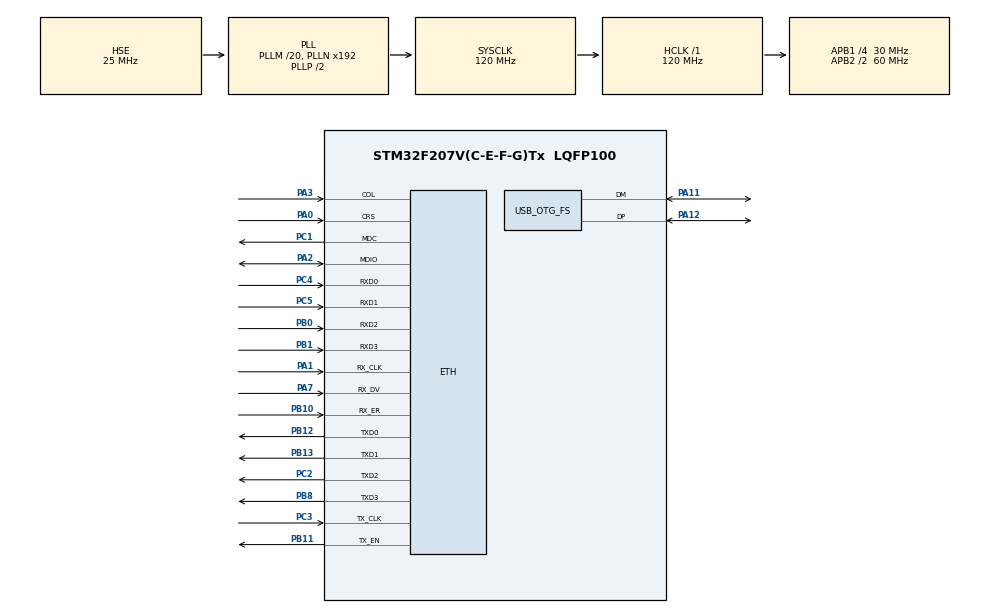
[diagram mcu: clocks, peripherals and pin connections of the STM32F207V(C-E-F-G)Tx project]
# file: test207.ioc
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ETH.MediaInterface=ETH_MEDIA_INTERFACE_MII
ETH.PhyAddress=0
FREERTOS.Tasks01=defaultTask,0,128,StartDefaultTask,Default,NULL,Dynamic,NULL,NULL;viTask,0,128,viFunct,Default,NULL,Dynamic,NULL,NULL
FREERTOS.configTOTAL_HEAP_SIZE=75360
LWIP.IP_ADDRESS=192.168.000.010
LWIP.LWIP_DHCP=0
LWIP.NETMASK_ADDRESS=255.255.255.000
LWIP.Version=v2.0.0_Cube
Mcu.Family=STM32F2
Mcu.Name=STM32F207V(C-E-F-G)Tx
Mcu.Package=LQFP100
NVIC.ETH_IRQn=true\:5\:0\:false\:false\:true\:true
NVIC.OTG_FS_IRQn=true\:0\:0\:false\:false\:true\:false
NVIC.PriorityGroup=NVIC_PRIORITYGROUP_4
NVIC.TIM7_IRQn=true\:0\:0\:false\:false\:true\:false
NVIC.TimeBase=TIM7_IRQn
NVIC.TimeBaseIP=TIM7
PA0-WKUP.Mode=MII
PA0-WKUP.Signal=ETH_CRS
PA1.Mode=MII
PA1.Signal=ETH_RX_CLK
PA11.Mode=Device_Only
PA11.Signal=USB_OTG_FS_DM
PA12.Mode=Device_Only
PA12.Signal=USB_OTG_FS_DP
PA13.Mode=JTAG_5_pins
PA13.Signal=SYS_JTMS-SWDIO
PA14.Mode=JTAG_5_pins
PA14.Signal=SYS_JTCK-SWCLK
PA15.Mode=JTAG_5_pins
PA15.Signal=SYS_JTDI
PA2.Mode=MII
PA2.Signal=ETH_MDIO
PA3.Mode=MII
PA3.Signal=ETH_COL
PA7.Mode=MII
PA7.Signal=ETH_RX_DV
PB0.Mode=MII
PB0.Signal=ETH_RXD2
PB1.Mode=MII
PB1.Signal=ETH_RXD3
PB10.Mode=Activate Rx Err signal
PB10.Signal=ETH_RX_ER
PB11.Mode=MII
PB11.Signal=ETH_TX_EN
PB12.Mode=MII
PB12.Signal=ETH_TXD0
PB13.Mode=MII
PB13.Signal=ETH_TXD1
PB3.Mode=JTAG_5_pins
PB3.Signal=SYS_JTDO-SWO
PB4.Mode=JTAG_5_pins
PB4.Signal=SYS_JTRST
PB8.Mode=MII
PB8.Signal=ETH_TXD3
PC1.Mode=MII
PC1.Signal=ETH_MDC
PC2.Mode=MII
PC2.Signal=ETH_TXD2
PC3.Mode=MII
PC3.Signal=ETH_TX_CLK
PC4.Mode=MII
PC4.Signal=ETH_RXD0
PC5.Mode=MII
PC5.Signal=ETH_RXD1
PH0-OSC_IN.Mode=HSE-External-Oscillator
PH0-OSC_IN.Signal=RCC_OSC_IN
PH1-OSC_OUT.Mode=HSE-External-Oscillator
PH1-OSC_OUT.Signal=RCC_OSC_OUT
ProjectManager.HeapSize=0x200
ProjectManager.StackSize=0x400
ProjectManager.TargetToolchain=EWARM
RCC.48MHZClocksFreq_Value=48000000
RCC.AHBFreq_Value=120000000
RCC.APB1CLKDivider=RCC_HCLK_DIV4
RCC.APB1Freq_Value=30000000
RCC.APB1TimFreq_Value=60000000
RCC.APB2CLKDivider=RCC_HCLK_DIV2
RCC.APB2Freq_Value=60000000
RCC.APB2TimFreq_Value=120000000
RCC.CortexFreq_Value=120000000
RCC.HCLKFreq_Value=120000000
RCC.HSE_VALUE=25000000
RCC.HSI_VALUE=16000000
RCC.LSE_VALUE=32768
RCC.PLLM=20
RCC.PLLQ=5
RCC.SYSCLKFreq_VALUE=120000000
RCC.SYSCLKSource=RCC_SYSCLKSOURCE_PLLCLK
RCC.VCOOutputFreq_Value=240000000
USB_DEVICE.CLASS_NAME_FS=CDC
USB_DEVICE.VirtualMode-CDC_FS=Cdc
USB_DEVICE.VirtualModeFS=Cdc_FS
USB_OTG_FS.VirtualMode=Device_Only
VP_FREERTOS_VS_ENABLE.Mode=Enabled
VP_LWIP_VS_Enabled.Mode=Enabled
VP_SYS_VS_tim7.Mode=TIM7
VP_USB_DEVICE_VS_USB_DEVICE_CDC_FS.Mode=CDC_FS
board=test207

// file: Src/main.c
/**
  ******************************************************************************
  * File Name          : main.c
  * Description        : Main program body
  ******************************************************************************
  * This notice applies to any and all portions of this file
  * that are not between comment pairs USER CODE BEGIN and
  * USER CODE END. Other portions of this file, whether
  * inserted by the user or by software development tools
  * are owned by their respective copyright owners.
  *
  * Copyright (c) 2017 STMicroelectronics International N.V.
  * All rights reserved.
  *
  * Redistribution and use in source and binary forms, with or without
  * modification, are permitted, provided that the following conditions are met:
  *
  * 1. Redistribution of source code must retain the above copyright notice,
  *    this list of conditions and the following disclaimer.
  * 2. Redistributions in binary form must reproduce the above copyright notice,
  *    this list of conditions and the following disclaimer in the documentation
  *    and/or other materials provided with the distribution.
  * 3. Neither the name of STMicroelectronics nor the names of other
  *    contributors to this software may be used to endorse or promote products
  *    derived from this software without specific written permission.
  * 4. This software, including modifications and/or derivative works of this
  *    software, must execute solely and exclusively on microcontroller or
  *    microprocessor devices manufactured by or for STMicroelectronics.
  * 5. Redistribution and use of this software other than as permitted under
  *    this license is void and will automatically terminate your rights under
  *    this license.
  *
  * THIS SOFTWARE IS PROVIDED BY STMICROELECTRONICS AND CONTRIBUTORS "AS IS"
  * AND ANY EXPRESS, IMPLIED OR STATUTORY WARRANTIES, INCLUDING, BUT NOT
  * LIMITED TO, THE IMPLIED WARRANTIES OF MERCHANTABILITY, FITNESS FOR A
  * PARTICULAR PURPOSE AND NON-INFRINGEMENT OF THIRD PARTY INTELLECTUAL PROPERTY
  * RIGHTS ARE DISCLAIMED TO THE FULLEST EXTENT PERMITTED BY LAW. IN NO EVENT
  * SHALL STMICROELECTRONICS OR CONTRIBUTORS BE LIABLE FOR ANY DIRECT, INDIRECT,
  * INCIDENTAL, SPECIAL, EXEMPLARY, OR CONSEQUENTIAL DAMAGES (INCLUDING, BUT NOT
  * LIMITED TO, PROCUREMENT OF SUBSTITUTE GOODS OR SERVICES; LOSS OF USE, DATA,
  * OR PROFITS; OR BUSINESS INTERRUPTION) HOWEVER CAUSED AND ON ANY THEORY OF
  * LIABILITY, WHETHER IN CONTRACT, STRICT LIABILITY, OR TORT (INCLUDING
  * NEGLIGENCE OR OTHERWISE) ARISING IN ANY WAY OUT OF THE USE OF THIS SOFTWARE,
  * EVEN IF ADVISED OF THE POSSIBILITY OF SUCH DAMAGE.
  *
  ******************************************************************************
  */
#include "main.h"
#include "stm32f2xx_hal.h"
#include "cmsis_os.h"
#include "lwip.h"
#include "usb_device.h"
#include "lwip/sys.h"
#include "lwip/sockets.h"
#include <stdio.h>

osThreadId defaultTaskHandle;
osThreadId viTaskHandle;

/* USER CODE BEGIN PV */
extern struct netif gnetif;
/* Private variables ---------------------------------------------------------*/
/* USER CODE END PV */

void SystemClock_Config(void);
static void MX_GPIO_Init(void);
void StartDefaultTask(void const * argument);
void viFunct(void const * argument);

/* USER CODE BEGIN PFP */
/* Private function prototypes -----------------------------------------------*/
void tcp_echoserver_init(void);
/* USER CODE END PFP */

int main(void)
{

  /* MCU Configuration----------------------------------------------------------*/

  /* Reset of all peripherals, Initializes the Flash interface and the Systick. */
  HAL_Init();

  /* Configure the system clock */
  SystemClock_Config();

  /* Initialize all configured peripherals */
  MX_GPIO_Init();

  /* Create the thread(s) */
  /* definition and creation of defaultTask */
  osThreadDef(defaultTask, StartDefaultTask, osPriorityNormal, 0, 1280);
  defaultTaskHandle = osThreadCreate(osThread(defaultTask), NULL);

  /* definition and creation of viTask */
  osThreadDef(viTask, viFunct, osPriorityNormal, 0, 3000);
  viTaskHandle = osThreadCreate(osThread(viTask), NULL);

  /* Start scheduler */
  osKernelStart();

  /* We should never get here as control is now taken by the scheduler */

  /* Infinite loop */
  while (1)
  {

  }

}

/** System Clock Configuration
*/
void SystemClock_Config(void)
{

  RCC_OscInitTypeDef RCC_OscInitStruct;
  RCC_ClkInitTypeDef RCC_ClkInitStruct;

    /**Initializes the CPU, AHB and APB busses clocks
    */
  RCC_OscInitStruct.OscillatorType = RCC_OSCILLATORTYPE_HSE;
  RCC_OscInitStruct.HSEState = RCC_HSE_ON;
  RCC_OscInitStruct.PLL.PLLState = RCC_PLL_ON;
  RCC_OscInitStruct.PLL.PLLSource = RCC_PLLSOURCE_HSE;
  RCC_OscInitStruct.PLL.PLLM = 20;
  RCC_OscInitStruct.PLL.PLLN = 192;
  RCC_OscInitStruct.PLL.PLLP = RCC_PLLP_DIV2;
  RCC_OscInitStruct.PLL.PLLQ = 5;
  if (HAL_RCC_OscConfig(&RCC_OscInitStruct) != HAL_OK)
  {
    _Error_Handler(__FILE__, __LINE__);
  }

    /**Initializes the CPU, AHB and APB busses clocks
    */
  RCC_ClkInitStruct.ClockType = RCC_CLOCKTYPE_HCLK|RCC_CLOCKTYPE_SYSCLK
                              |RCC_CLOCKTYPE_PCLK1|RCC_CLOCKTYPE_PCLK2;
  RCC_ClkInitStruct.SYSCLKSource = RCC_SYSCLKSOURCE_PLLCLK;
  RCC_ClkInitStruct.AHBCLKDivider = RCC_SYSCLK_DIV1;
  RCC_ClkInitStruct.APB1CLKDivider = RCC_HCLK_DIV4;
  RCC_ClkInitStruct.APB2CLKDivider = RCC_HCLK_DIV2;

  if (HAL_RCC_ClockConfig(&RCC_ClkInitStruct, FLASH_LATENCY_3) != HAL_OK)
  {
    _Error_Handler(__FILE__, __LINE__);
  }

    /**Configure the Systick interrupt time
    */
  HAL_SYSTICK_Config(HAL_RCC_GetHCLKFreq()/1000);

    /**Configure the Systick
    */
  HAL_SYSTICK_CLKSourceConfig(SYSTICK_CLKSOURCE_HCLK);

  /* SysTick_IRQn interrupt configuration */
  HAL_NVIC_SetPriority(SysTick_IRQn, 15, 0);
}

/** Configure pins as
        * Analog
        * Input
        * Output
        * EVENT_OUT
        * EXTI
*/
static void MX_GPIO_Init(void)
{

  /* GPIO Ports Clock Enable */
  __HAL_RCC_GPIOH_CLK_ENABLE();
  __HAL_RCC_GPIOC_CLK_ENABLE();
  __HAL_RCC_GPIOA_CLK_ENABLE();
  __HAL_RCC_GPIOB_CLK_ENABLE();

}

/* StartDefaultTask function */
void StartDefaultTask(void const * argument)
{
  /* init code for LWIP */
  MX_LWIP_Init();

  /* init code for USB_DEVICE */
  MX_USB_DEVICE_Init();

  /* USER CODE BEGIN 5 */
      int sock, newconn, size;
    struct sockaddr_in address, remotehost;

    int ret;
    unsigned char recv_buffer[1500] = {0};

    if ((sock = socket(AF_INET, SOCK_STREAM, 0)) < 0) { // Протоколы обмена сетевого уровня IP(AF_NET), протокол транспортного уровня TCP(SOCK_STREAM)
        return;
    }
    char w[] = "HTTP/1.0 200 OK";
    char c[] = "<!DOCTYPE html><html><head><meta http-equiv=\"Content-Type\" content=\"text/html; charset=utf-8\" /> <title>HTML Document</title></head><body><p> <b> This <i>IT</i></b></p></body></html>";
    address.sin_family = AF_INET;
    address.sin_port = htons(80);
    address.sin_addr.s_addr = INADDR_ANY; // Разобраться

    if (bind(sock, (struct sockaddr *)&address, sizeof (address)) < 0) {
        return;
    }
    listen(sock, 5);
    size = sizeof(remotehost);
    /* Infinite loop */
    for(;;) {
        newconn = accept(sock, (struct sockaddr *)&remotehost, (socklen_t *)&size);
        ret = read(newconn, recv_buffer, 1500);
        if(recv_buffer[0]>0){
            strcat(recv_buffer,c);
            write(newconn,w, strlen(w));
            write(newconn,recv_buffer, strlen(recv_buffer));
        }
       close(newconn);
    }
  /* Infinite loop */

  /* USER CODE END 5 */
}

/* viFunct function */
void viFunct(void const * argument)
{
  for(;;) {
    osDelay(1);
  }
}

void HAL_TIM_PeriodElapsedCallback(TIM_HandleTypeDef *htim)
{
  if (htim->Instance == TIM7) {
    HAL_IncTick();
  }
}

void _Error_Handler(char * file, int line)
{
  while(1)
  {
  }
}

/************************ (C) COPYRIGHT STMicroelectronics *****END OF FILE****/
